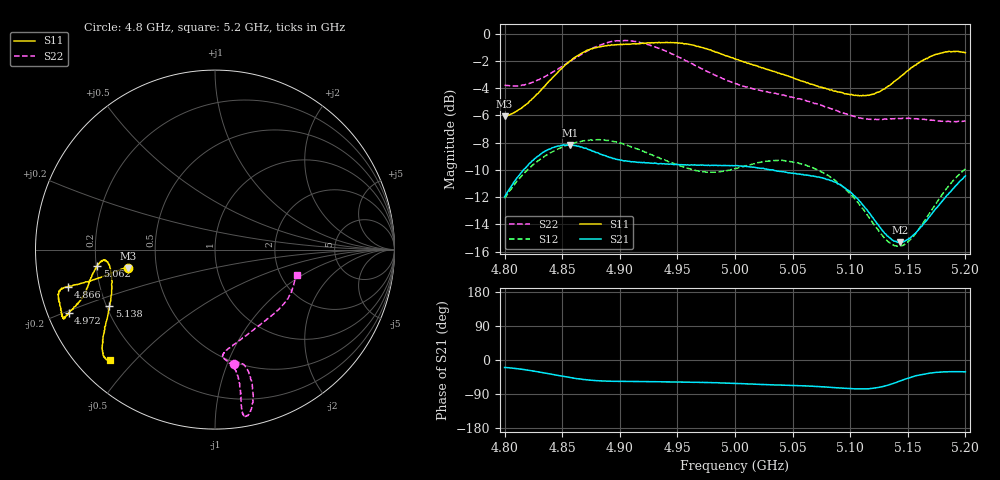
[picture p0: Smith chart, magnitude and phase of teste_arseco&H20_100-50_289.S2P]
! Network Analyzer HP8722D
! Hewlett-Packard
! Data name: Linha & Wilkinson
! Saver's name: Rodrigo Anjos
! Comments: Teste da utilização de aquisição
! continua pelo VNA HP8722D
! Time and date: 6/5/2025 14:58
!  Frequency  S11  S21  S12  S22
# HZ  S  MA R 50
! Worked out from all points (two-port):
!   401 points, 4.8 GHz to 5.2 GHz, reference 50 ohm
!   highest |S21| = -8.16 dB at 4.857 GHz (marker M1); lowest = -15.3 dB at 5.143 GHz (marker M2)
!   |S21| within 3 dB of the highest: 4.806 GHz to 5.093 GHz (286.5 MHz wide, 5.79 % of centre); 5.191735 GHz to end of sweep
!   lowest |S11| = -6.1 dB at 4.8 GHz (marker M3), VSWR 2.98, Z = 17 - j4.59 ohm
!   |S11| at or under -10 dB: nowhere
!   |S22| runs from -6.5 to -0.5 dB; largest |S21 - S12| = 0.62
!   S11 on the Smith chart (normalised r, x): 4.8 GHz: 0.34, -0.09; 4.866 GHz: 0.09, -0.12; 4.972 GHz: 0.06, -0.21; 5.062 GHz: 0.20, -0.07; 5.138 GHz: 0.21, -0.24; 5.2 GHz: 0.09, -0.43
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4.8e9  0.4969 -168.2  0.2517 -19.7  0.2486 -140.9  0.648 -80.4
4.829e9  0.6033 -166.9  0.3551 -31.2  0.3415 -145.0  0.6775 -75.2
4.857e9  0.7951 -165.8  0.3907 -46.4  0.3934 -150.2  0.793 -74.8
4.866e9  0.8446 -165.9  0.3838 -50.3  0.4019 -151.9  0.8364 -75.3
4.867e9  0.8479 -165.9  0.3836 -50.7  0.4029 -152.0  0.8414 -75.3
4.898e9  0.9121 -163.1  0.3455 -56.2  0.399 -156.4  0.943 -78.8
4.915e9  0.9179 -159.5  0.3371 -56.8  0.378 -157.2  0.9344 -80.3
4.934e9  0.9298 -156.4  0.333 -57.4  0.3511 -155.6  0.8834 -80.4
4.972e9  0.8891 -156.5  0.3298 -59.0  0.3112 -146.1  0.7416 -79.7
5e9  0.8096 -159.0  0.3277 -61.7  0.3199 -137.2  0.6576 -81.3
5.035e9  0.724 -165.3  0.3142 -65.9  0.3425 -134.3  0.605 -85.7
5.062e9  0.661 -172.2  0.3025 -68.6  0.3288 -136.2  0.567 -83.8
5.067e9  0.6523 -173.1  0.3003 -69.1  0.3234 -136.8  0.5591 -82.6
5.084e9  0.6223 -174.6  0.2888 -72.4  0.2951 -138.4  0.5293 -76.4
5.101e9  0.5988 -171.9  0.2607 -75.8  0.2556 -138.8  0.501 -66.5
5.115e9  0.5949 -166.0  0.2245 -75.9  0.2155 -135.8  0.4859 -56.4
5.134e9  0.6449 -154.1  0.1783 -65.4  0.171 -120.7  0.4868 -43.3
5.138e9  0.6675 -151.9  0.1731 -61.3  0.1668 -115.5  0.4868 -40.9
5.143e9  0.6923 -149.3  0.1711 -55.7  0.166 -108.9  0.4878 -38.1
5.154e9  0.7552 -144.4  0.181 -44.4  0.1789 -95.0  0.4878 -32.3
5.172e9  0.8333 -139.0  0.2212 -33.7  0.2297 -81.2  0.4807 -24.6
5.2e9  0.8519 -133.6  0.3005 -31.3  0.3187 -76.8  0.4776 -17.6
